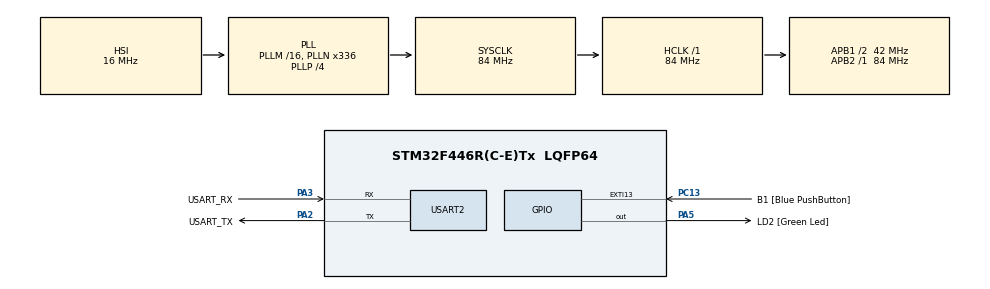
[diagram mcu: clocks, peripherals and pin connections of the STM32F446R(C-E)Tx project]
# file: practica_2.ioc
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Mcu.Family=STM32F4
Mcu.Name=STM32F446R(C-E)Tx
Mcu.Package=LQFP64
NVIC.PriorityGroup=NVIC_PRIORITYGROUP_0
PA13.GPIO_Label=TMS
PA13.Mode=Serial_Wire
PA13.Signal=SYS_JTMS-SWDIO
PA14.GPIO_Label=TCK
PA14.Mode=Serial_Wire
PA14.Signal=SYS_JTCK-SWCLK
PA2.GPIO_Label=USART_TX
PA2.Mode=Asynchronous
PA2.Signal=USART2_TX
PA3.GPIO_Label=USART_RX
PA3.Mode=Asynchronous
PA3.Signal=USART2_RX
PA5.GPIO_Label=LD2 [Green Led]
PA5.Signal=GPIO_Output
PB3.GPIO_Label=SWO
PB3.Signal=SYS_JTDO-SWO
PC13.GPIO_Label=B1 [Blue PushButton]
PC13.GPIO_ModeDefaultEXTI=GPIO_MODE_IT_FALLING
PC13.Signal=GPXTI13
PC14-OSC32_IN.Mode=LSE-External-Oscillator
PC14-OSC32_IN.Signal=RCC_OSC32_IN
PC15-OSC32_OUT.Mode=LSE-External-Oscillator
PC15-OSC32_OUT.Signal=RCC_OSC32_OUT
PH0-OSC_IN.Mode=HSE-External-Oscillator
PH0-OSC_IN.Signal=RCC_OSC_IN
PH1-OSC_OUT.Mode=HSE-External-Oscillator
PH1-OSC_OUT.Signal=RCC_OSC_OUT
ProjectManager.HeapSize=0x200
ProjectManager.StackSize=0x400
ProjectManager.TargetToolchain=STM32CubeIDE
RCC.48MHZClocksFreq_Value=84000000
RCC.AHBFreq_Value=84000000
RCC.APB1CLKDivider=RCC_HCLK_DIV2
RCC.APB1Freq_Value=42000000
RCC.APB1TimFreq_Value=84000000
RCC.APB2Freq_Value=84000000
RCC.APB2TimFreq_Value=84000000
RCC.CortexFreq_Value=84000000
RCC.FLatency-AdvancedSettings=FLASH_LATENCY_2
RCC.HCLKFreq_Value=84000000
RCC.HSE_VALUE=8000000
RCC.HSI_VALUE=16000000
RCC.PLLN=336
RCC.PLLP=RCC_PLLP_DIV4
RCC.SYSCLKFreq_VALUE=84000000
RCC.SYSCLKSource=RCC_SYSCLKSOURCE_PLLCLK
RCC.USBFreq_Value=168000000
RCC.VCOOutputFreq_Value=336000000
USART2.VirtualMode=VM_ASYNC
board=NUCLEO-F446RE

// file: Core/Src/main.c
/* USER CODE BEGIN Header */
/**
  ******************************************************************************
  * @file           : main.c
  * @brief          : Main program body
  ******************************************************************************
  * @attention
  *
  * Copyright (c) 2026 STMicroelectronics.
  * All rights reserved.
  *
  * This software is licensed under terms that can be found in the LICENSE file
  * in the root directory of this software component.
  * If no LICENSE file comes with this software, it is provided AS-IS.
  *
  ******************************************************************************
  */
/* USER CODE END Header */
#include "main.h"

UART_HandleTypeDef huart2;

/* USER CODE BEGIN PV */

/**
 * @brief Invalid tick parameter to set in delayWrite function when the duration is 0.
 * */
#define INVALID_TICK_PARAMETER 0

/**
  * @brief Number of half-cycles to change state in LED for 50% duty cycle.
  */
#define NBR_HALF_CYCLES		10

/**
 * @brief Initial tick duration for the first delay.
 * */
#define INIT_TICK_DURATION	2000

/**
 * @brief Initialization for variables or reset values in the code in zero.
 * */
#define INITIAL_VALUE   0

/**
 * @brief Instance of delay_t struct initialization with zero values for parameters.
 * */
delay_t delay_st = {0};

/**
 * @brief Instance of tick_t to define the init duration of delay.
 * */
tick_t init_duration = INIT_TICK_DURATION;

/**
 * @brief Array of different periods to set in blink LED code.
 * @warning The values of the array must be greater than 0. The values of the array are in milliseconds.
 *
 * */
uint16_t period_ms[] = {1000, 200, 100};

/**
 * @brief Size of period_ms array.
 * */
uint8_t size_period_array = sizeof(period_ms)/sizeof(period_ms[0]);
/* USER CODE END PV */

void SystemClock_Config(void);
static void MX_GPIO_Init(void);
static void MX_USART2_UART_Init(void);

/* USER CODE BEGIN 0 */

void delayInit( delay_t * delay, tick_t duration )
{
	if(NULL == delay || INVALID_TICK_PARAMETER == duration)
	{
		return;
	}
	delay->duration = duration;
	delay->running = false;
	return;
}

bool_t delayRead( delay_t * delay )
{
	bool_t bool_ret = false;
	if(NULL == delay)
	{
		return bool_ret;
	}
	if(false == delay->running)
	{
		delay->startTime = HAL_GetTick();
		delay->running = true;
		return bool_ret;
	}else if(true == delay->running)
	{
		uint32_t current_time = HAL_GetTick();;
		uint32_t start_time = delay->startTime;
		if( (current_time - start_time) >= delay->duration)
		{
			delay->running = false;
			bool_ret = true;
			return bool_ret;
		}
	}
	return bool_ret;
}

void delayWrite( delay_t * delay, tick_t duration )
{
	if(NULL == delay || INVALID_TICK_PARAMETER == duration)
	{
		return;
	}
	delay->duration = duration;
	return;
}
/* USER CODE END 0 */

int main(void)
{

  /* MCU Configuration--------------------------------------------------------*/

  /* Reset of all peripherals, Initializes the Flash interface and the Systick. */
  HAL_Init();

  /* Configure the system clock */
  SystemClock_Config();

  /* Initialize all configured peripherals */
  MX_GPIO_Init();
  MX_USART2_UART_Init();
  /* USER CODE BEGIN 2 */
  uint8_t counter = INITIAL_VALUE; /**< Counter for half-cycles initialization*/
  uint8_t offset_period = INITIAL_VALUE; /**< Offset for period array to iterate through*/
  delayInit(&delay_st, init_duration);
  /* USER CODE END 2 */

  /* Infinite loop */
  while (1)
  {

	  if(true == delayRead(&delay_st))
	  {
		  HAL_GPIO_TogglePin(LD2_GPIO_Port, LD2_Pin);
		  if(counter == NBR_HALF_CYCLES)
		  {
			  if(size_period_array == offset_period)
			  {
				  offset_period = INITIAL_VALUE;
			  }
			  delayWrite(&delay_st, period_ms[offset_period]);
			  offset_period++;
			  counter=INITIAL_VALUE;
		  }
		  counter++;
	  }

  }
}

void SystemClock_Config(void)
{
  RCC_OscInitTypeDef RCC_OscInitStruct = {0};
  RCC_ClkInitTypeDef RCC_ClkInitStruct = {0};

  /** Configure the main internal regulator output voltage
  */
  __HAL_RCC_PWR_CLK_ENABLE();
  __HAL_PWR_VOLTAGESCALING_CONFIG(PWR_REGULATOR_VOLTAGE_SCALE3);

  /** Initializes the RCC Oscillators according to the specified parameters
  * in the RCC_OscInitTypeDef structure.
  */
  RCC_OscInitStruct.OscillatorType = RCC_OSCILLATORTYPE_HSI;
  RCC_OscInitStruct.HSIState = RCC_HSI_ON;
  RCC_OscInitStruct.HSICalibrationValue = RCC_HSICALIBRATION_DEFAULT;
  RCC_OscInitStruct.PLL.PLLState = RCC_PLL_ON;
  RCC_OscInitStruct.PLL.PLLSource = RCC_PLLSOURCE_HSI;
  RCC_OscInitStruct.PLL.PLLM = 16;
  RCC_OscInitStruct.PLL.PLLN = 336;
  RCC_OscInitStruct.PLL.PLLP = RCC_PLLP_DIV4;
  RCC_OscInitStruct.PLL.PLLQ = 2;
  RCC_OscInitStruct.PLL.PLLR = 2;
  if (HAL_RCC_OscConfig(&RCC_OscInitStruct) != HAL_OK)
  {
    Error_Handler();
  }

  /** Initializes the CPU, AHB and APB buses clocks
  */
  RCC_ClkInitStruct.ClockType = RCC_CLOCKTYPE_HCLK|RCC_CLOCKTYPE_SYSCLK
                              |RCC_CLOCKTYPE_PCLK1|RCC_CLOCKTYPE_PCLK2;
  RCC_ClkInitStruct.SYSCLKSource = RCC_SYSCLKSOURCE_PLLCLK;
  RCC_ClkInitStruct.AHBCLKDivider = RCC_SYSCLK_DIV1;
  RCC_ClkInitStruct.APB1CLKDivider = RCC_HCLK_DIV2;
  RCC_ClkInitStruct.APB2CLKDivider = RCC_HCLK_DIV1;

  if (HAL_RCC_ClockConfig(&RCC_ClkInitStruct, FLASH_LATENCY_2) != HAL_OK)
  {
    Error_Handler();
  }
}

static void MX_USART2_UART_Init(void)
{

  huart2.Instance = USART2;
  huart2.Init.BaudRate = 115200;
  huart2.Init.WordLength = UART_WORDLENGTH_8B;
  huart2.Init.StopBits = UART_STOPBITS_1;
  huart2.Init.Parity = UART_PARITY_NONE;
  huart2.Init.Mode = UART_MODE_TX_RX;
  huart2.Init.HwFlowCtl = UART_HWCONTROL_NONE;
  huart2.Init.OverSampling = UART_OVERSAMPLING_16;
  if (HAL_UART_Init(&huart2) != HAL_OK)
  {
    Error_Handler();
  }

}

static void MX_GPIO_Init(void)
{
  GPIO_InitTypeDef GPIO_InitStruct = {0};

  /* GPIO Ports Clock Enable */
  __HAL_RCC_GPIOC_CLK_ENABLE();
  __HAL_RCC_GPIOH_CLK_ENABLE();
  __HAL_RCC_GPIOA_CLK_ENABLE();
  __HAL_RCC_GPIOB_CLK_ENABLE();

  /*Configure GPIO pin Output Level */
  HAL_GPIO_WritePin(LD2_GPIO_Port, LD2_Pin, GPIO_PIN_RESET);

  /*Configure GPIO pin : B1_Pin */
  GPIO_InitStruct.Pin = B1_Pin;
  GPIO_InitStruct.Mode = GPIO_MODE_IT_FALLING;
  GPIO_InitStruct.Pull = GPIO_NOPULL;
  HAL_GPIO_Init(B1_GPIO_Port, &GPIO_InitStruct);

  /*Configure GPIO pin : LD2_Pin */
  GPIO_InitStruct.Pin = LD2_Pin;
  GPIO_InitStruct.Mode = GPIO_MODE_OUTPUT_PP;
  GPIO_InitStruct.Pull = GPIO_NOPULL;
  GPIO_InitStruct.Speed = GPIO_SPEED_FREQ_LOW;
  HAL_GPIO_Init(LD2_GPIO_Port, &GPIO_InitStruct);

}

void Error_Handler(void)
{
  __disable_irq();
  while (1)
  {
  }
}
